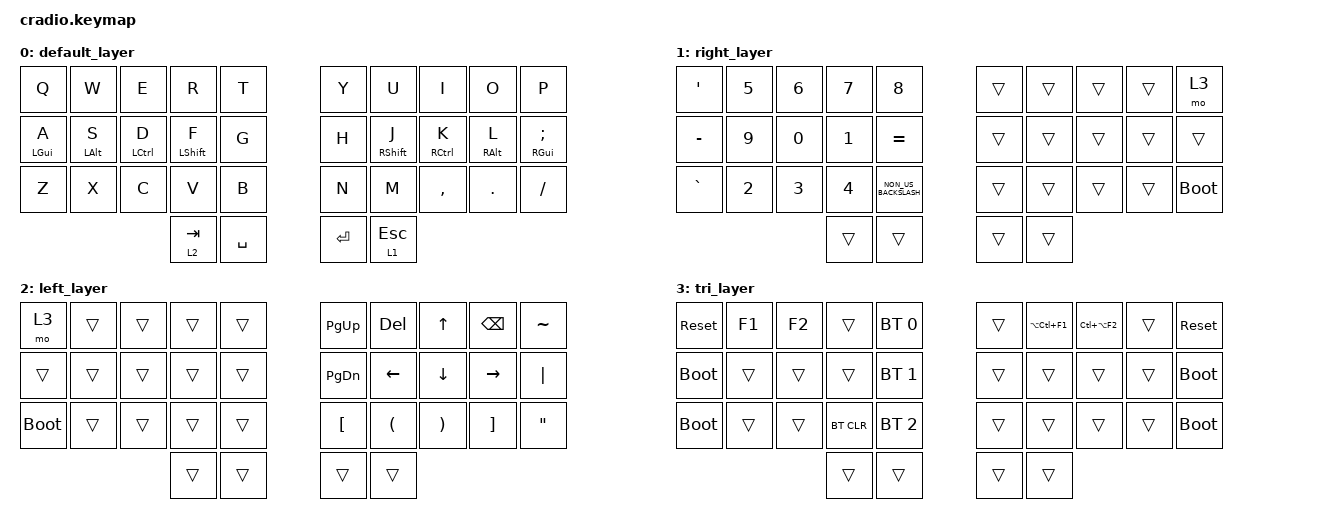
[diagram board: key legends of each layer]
// Copyright (c) 2022 The ZMK Contributors
// SPDX-License-Identifier: MIT

#include <behaviors.dtsi>
#include <dt-bindings/zmk/bt.h>
#include <dt-bindings/zmk/keys.h>

/ {
    behaviors {
        ht: hold_tap {
            compatible = "zmk,behavior-hold-tap";
            #binding-cells = <2>;
            flavor = "tap-preferred";
            tapping-term-ms = <220>;
            quick-tap-ms = <150>;
            require-prior-idle-ms = <100>;
            bindings = <&kp>, <&kp>;
        };

        hrm: hrm {
            compatible = "zmk,behavior-hold-tap";
            #binding-cells = <2>;
            flavor = "tap-preferred";
            tapping-term-ms = <200>;
            quick-tap-ms = <200>;
            require-prior-idle-ms = <125>;
            bindings = <&kp>, <&kp>;
        };
    };

    conditional_layers {
        compatible = "zmk,conditional-layers";

        tri_layer {
            if-layers = <1 2>;
            then-layer = <3>;
        };
    };

    keymap {
        compatible = "zmk,keymap";

        default_layer {
            bindings = <
&kp Q        &kp W        &kp E         &kp R         &kp T        &kp Y       &kp U         &kp I         &kp O        &kp P
&hrm LGUI A  &hrm LALT S  &hrm LCTRL D  &hrm LSHFT F  &kp G        &kp H       &hrm RSHFT J  &hrm RCTRL K  &hrm RALT L  &hrm RGUI SEMICOLON
&kp Z        &kp X        &kp C         &kp V         &kp B        &kp N       &kp M         &kp COMMA     &kp DOT      &kp FSLH
                                        &lt 2 TAB     &kp SPACE    &kp RETURN  &lt 1 ESCAPE
            >;
        };

        right_layer {
            bindings = <
&kp SQT    &kp N5        &kp NUMBER_6  &kp N7        &kp N8                  &trans  &trans  &trans  &trans  &mo 3
&kp MINUS  &kp N9        &kp N0        &kp NUMBER_1  &kp EQUAL               &trans  &trans  &trans  &trans  &trans
&kp GRAVE  &kp NUMBER_2  &kp NUMBER_3  &kp NUMBER_4  &kp NON_US_BACKSLASH    &trans  &trans  &trans  &trans  &bootloader
                                       &trans        &trans                  &trans  &trans
            >;
        };

        left_layer {
            bindings = <
&mo 3        &trans  &trans  &trans  &trans    &kp PAGE_UP       &kp DELETE            &kp UP_ARROW           &kp BACKSPACE      &kp TILDE
&trans       &trans  &trans  &trans  &trans    &kp PAGE_DOWN     &kp LEFT_ARROW        &kp DOWN               &kp RIGHT_ARROW    &kp PIPE
&bootloader  &trans  &trans  &trans  &trans    &kp LEFT_BRACKET  &kp LEFT_PARENTHESIS  &kp RIGHT_PARENTHESIS  &kp RIGHT_BRACKET  &kp DOUBLE_QUOTES
                             &trans  &trans    &trans            &trans
            >;
        };

        tri_layer {
            bindings = <
&sys_reset   &kp F1  &kp F2  &trans      &bt BT_SEL 0    &trans  &kp LA(LC(F1))  &kp LC(LA(F2))  &trans  &sys_reset
&bootloader  &trans  &trans  &trans      &bt BT_SEL 1    &trans  &trans          &trans          &trans  &bootloader
&bootloader  &trans  &trans  &bt BT_CLR  &bt BT_SEL 2    &trans  &trans          &trans          &trans  &bootloader
                             &trans      &trans          &trans  &trans
            >;
        };
    };
};
